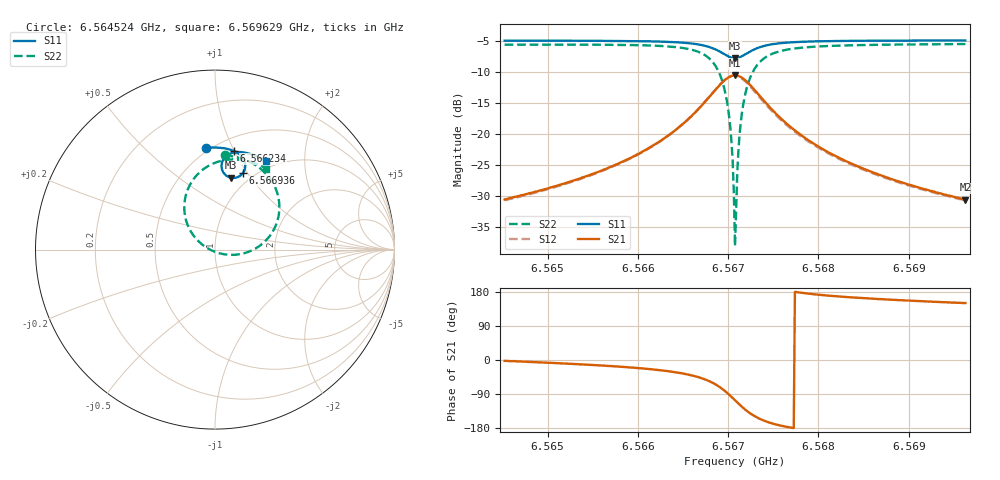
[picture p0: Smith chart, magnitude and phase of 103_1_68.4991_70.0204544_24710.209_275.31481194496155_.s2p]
#  HZ  S  RI  R  50.00
! Rohde & Schwarz Vector Network Analyzer
! Rohde-Schwarz,ZNB20-2Port,1311601062101988,3.16
! Created: UTC 3/20/2024, 4:53:08 PM
! freq[Hz]  re:S11  im:S11  re:S21  im:S21  re:S12  im:S12  re:S22  im:S22
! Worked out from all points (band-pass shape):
!   401 points, 6.564524 GHz to 6.569629 GHz, reference 50 ohm
!   highest |S21| = -10.49 dB at 6.567076 GHz (marker M1); lowest = -30.5 dB at 6.569629 GHz (marker M2)
!   |S21| within 3 dB of the highest: 6.56682 GHz to 6.567331 GHz (510.8 kHz wide, 0.00778 % of centre)
!   lowest |S11| = -7.7 dB at 6.567076 GHz (marker M3), VSWR 2.39, Z = 41.9 + j40.4 ohm
!   |S11| at or under -10 dB: nowhere
!   |S22| runs from -38.0 to -5.4 dB; largest |S21 - S12| = 0.015
!   S11 on the Smith chart (normalised r, x): 6.564524 GHz: 0.48, +0.80; 6.566234 GHz: 0.62, +1.00; 6.566936 GHz: 0.89, +0.95; 6.569629 GHz: 0.89, +1.31
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6.5645237e9  -0.0492 0.5673  0.0298 -0.00122  0.0294 -0.00161  0.0531 0.5261
6.5653788e9  0.0218 0.5676  0.0439 -0.00904  0.0429 -0.00947  0.1372 0.5102
6.5662338e9  0.1045 0.5496  0.0776 -0.0388  0.0768 -0.0399  0.2583 0.4472
6.5665274e9  0.1399 0.5278  0.1011 -0.076  0.0996 -0.0776  0.321 0.374
6.5667316e9  0.1642 0.4932  0.1144 -0.137  0.1117 -0.1398  0.358 0.2564
6.5668464e9  0.1683 0.4586  0.1029 -0.1976  0.0976 -0.2015  0.3409 0.1405
6.5669357e9  0.1546 0.4252  0.062 -0.255  0.0525 -0.2582  0.265 0.0337
6.566974e9  0.1412 0.4121  0.0308 -0.2763  0.0194 -0.2781  0.2068 -0.00395
6.5670123e9  0.1232 0.4028  -0.00871 -0.2901  -0.0216 -0.2894  0.1343 -0.0263
6.5670378e9  0.1094 0.3996  -0.0381 -0.2933  -0.0515 -0.2904  0.0809 -0.0292
6.5670506e9  0.1022 0.3993  -0.0532 -0.2927  -0.0668 -0.2886  0.0538 -0.0265
6.5670634e9  0.0949 0.3996  -0.0684 -0.2905  -0.0819 -0.2853  0.0268 -0.0209
6.5670761e9  0.0875 0.401  -0.0834 -0.287  -0.0964 -0.2805  0.000711 -0.0125
6.5671017e9  0.0738 0.4058  -0.1118 -0.2755  -0.1238 -0.2667  -0.0482 0.0117
6.5671272e9  0.0615 0.4135  -0.137 -0.2591  -0.1471 -0.2486  -0.0899 0.0444
6.5671527e9  0.0516 0.4233  -0.1578 -0.2389  -0.166 -0.2271  -0.123 0.0827
6.5672038e9  0.0392 0.4461  -0.1848 -0.1936  -0.1886 -0.1809  -0.1622 0.1664
6.5672676e9  0.0367 0.4739  -0.1946 -0.1392  -0.1948 -0.1279  -0.1699 0.2624
6.56751e9  0.0752 0.53  -0.1489 -0.0292  -0.1456 -0.0246  -0.0654 0.4476
6.5679312e9  0.1382 0.5436  -0.0851 0.00897  -0.083 0.0103  0.0761 0.5016
6.5687863e9  0.2206 0.5249  -0.0414 0.0157  -0.0405 0.016  0.2078 0.4856
6.5696286e9  0.2841 0.4954  -0.0259 0.0147  -0.0252 0.0149  0.2851 0.4518
